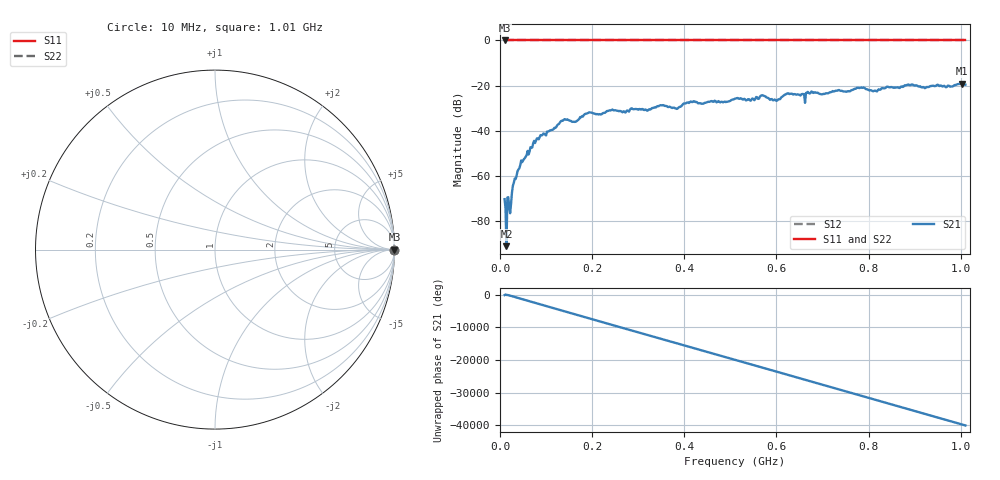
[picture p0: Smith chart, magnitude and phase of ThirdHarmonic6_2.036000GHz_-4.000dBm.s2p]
! 8/17/2025 12:25:16 AM
! C:\ANRITSUVNA\TEMP\TEMP.S2P
! CHANNEL.1
! TR.MEASUREMENT
! RAW.DATA
! RF.CORRECTION.OFF
! AVERAGING.OFF
! IF.BANDWIDTH: 5KHZ
! SWEEPTYPE:  FREQ.SWEEP(Linear)
! Reference Plane Port Info
! PORT:  PORT1  PORT2
! DISTANCE:  0  m  0  m
! TIME:  0  s  0  s
! PHASE.OFFSET:  0  deg.  0  deg.
! LOSS:  0  dB  0  dB
! REF.LOSS:  0  dB  0  dB
! REF.FREQ:  0  Hz  0  Hz
! Power Info
! POWER:  -20  dBm  -20  dBm
! EFF.POWER:  -20  dBm  -20  dBm
! SOURCE.ATTEN:  0  dB  0  dB
! TEST.ATTEN:  0  dB  0  dB
# GHZ S RI R 50.0
! FREQ.GHZ  S11RE  S11IM  S21RE  S21IM  S12RE  S12IM  S22RE  S22IM
!; PortSelection: Port_12
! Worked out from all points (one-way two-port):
!   501 points, 10 MHz to 1.01 GHz, reference 50 ohm
!   highest |S21| = -19.23 dB at 1.002 GHz (marker M1); lowest = -91.2 dB at 14 MHz (marker M2)
!   lowest |S11| = 0.0 dB at 10 MHz (marker M3)
!   |S11| at or under -10 dB: nowhere
!   |S22| runs from 0.0 to 0.0 dB; largest |S21 - S12| = 1.1
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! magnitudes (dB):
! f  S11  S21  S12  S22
! 10 MHz  0.0  -70.4  0.0  0.0
! 14 MHz  0.0  -91.2  0.0  0.0
! 18 MHz  0.0  -69.5  0.0  0.0
! 24 MHz  0.0  -72.4  0.0  0.0
! 30 MHz  0.0  -63.1  0.0  0.0
! 42 MHz  0.0  -56.7  0.0  0.0
! 76 MHz  0.0  -45.5  0.0  0.0
! 136 MHz  0.0  -35.7  0.0  0.0
! 162 MHz  0.0  -36.1  0.0  0.0
! 178 MHz  0.0  -33.6  0.0  0.0
! 344 MHz  0.0  -29.2  0.0  0.0
! 384 MHz  0.0  -30.4  0.0  0.0
! 418 MHz  0.0  -27.3  0.0  0.0
! 510 MHz  0.0  -25.8  0.0  0.0
! 570 MHz  0.0  -24.3  0.0  0.0
! 598 MHz  0.0  -26.5  0.0  0.0
! 622 MHz  0.0  -23.6  0.0  0.0
! 678 MHz  0.0  -22.9  0.0  0.0
! 814 MHz  0.0  -22.2  0.0  0.0
! 844 MHz  0.0  -20.7  0.0  0.0
! 1.002 GHz  0.0  -19.2  0.0  0.0
! 1.01 GHz  0.0  -19.6  0.0  0.0
